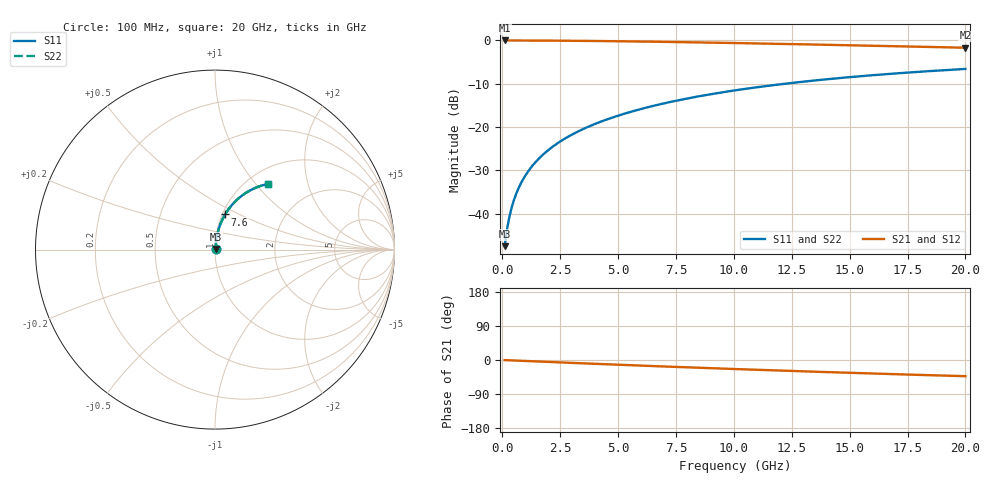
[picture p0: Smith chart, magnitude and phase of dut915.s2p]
! Touchstone file exported from HFSS 2024.1.0
!  File:  C:/UserFiles/LocalFiles/RDL_TSV_Batchsim/temp_RDL_bottom_915_1779940622.aedt
!  Generated:  11:59:45 AM May 28, 2026
!  Design:  RDL_bottom
!  Project:  temp_RDL_bottom_915_1779940622
!  Setup:  Setup1
!  Solution:  Sweep
! Variables:
!  dtsv = 10.80580581um
!  hbump = 3um
!  htsv = 90.33um
!  ldown = 537.34um
!  lrdl = 100um
!  p = 40
!  p1 = 57.89um
!  rhole = 1um
!  t = 450um
!  tdown = 4.22um
!  trdl = 3.915915916um
!  wdown = 14.74um
!  wrdl = 20um
# GHz S MA R 50.000000
! Terminal data exported
! Port[1] = RDL1_T1
! Port[2] = RDL1_T2
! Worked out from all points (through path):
!   200 points, 100 MHz to 20 GHz, reference 50 ohm
!   highest |S21| = -0.03 dB at 100 MHz (marker M1); lowest = -1.7 dB at 20 GHz (marker M2)
!   group delay of S21, straight-line fit = 5.93 ps
!   lowest |S11| = -47.4 dB at 100 MHz (marker M3), VSWR 1.01, Z = 50.3 + j0.285 ohm
!   |S11| at or under -10 dB: start of sweep to 12.22 GHz
!   |S22| runs from -47.4 to -6.6 dB; largest |S21 - S12| = 5.1e-15
!   S11 on the Smith chart (normalised r, x): 100 MHz: 1.01, +0.01; 7.6 GHz: 1.03, +0.42; 20 GHz: 1.23, +1.15
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0.1  0.004244 41.9  0.9968 -0.3  0.9968 -0.3  0.004244 41.9
! Gamma 0 0 0 0
! Port Impedance 50 0 50 0
0.2  0.006512 60.1  0.9967 -0.5  0.9967 -0.5  0.006512 60.1
0.3  0.009072 68.2  0.9966 -0.8  0.9966 -0.8  0.009072 68.2
0.4  0.01171 72.5  0.9965 -1.0  0.9965 -1.0  0.01171 72.5
0.5  0.01437 75.2  0.9963 -1.3  0.9963 -1.3  0.01437 75.2
0.6  0.01704 77.0  0.9962 -1.6  0.9962 -1.6  0.01703 77.0
0.8  0.02238 79.2  0.9959 -2.1  0.9959 -2.1  0.02238 79.2
1.1  0.03043 80.9  0.9953 -2.8  0.9953 -2.8  0.03043 80.9
1.5  0.0412 81.9  0.9943 -3.8  0.9943 -3.8  0.0412 81.9
1.8  0.0493 82.2  0.9935 -4.6  0.9935 -4.6  0.0493 82.2
2.1  0.05741 82.2  0.9925 -5.4  0.9925 -5.4  0.05741 82.2
2.7  0.07362 81.8  0.99 -6.9  0.99 -6.9  0.07362 81.8
3.5  0.09521 80.9  0.986 -8.8  0.986 -8.8  0.09521 80.9
4.2  0.114 79.9  0.9818 -10.5  0.9818 -10.5  0.114 79.9
5  0.1354 78.6  0.9763 -12.5  0.9763 -12.5  0.1354 78.6
5.9  0.1593 77.1  0.9694 -14.6  0.9694 -14.6  0.1593 77.1
6.8  0.183 75.4  0.9619 -16.7  0.9619 -16.7  0.183 75.4
7.6  0.2037 74.0  0.9548 -18.5  0.9548 -18.5  0.2037 74.0
10.1  0.2664 69.2  0.9304 -24.0  0.9304 -24.0  0.2664 69.2
13.4  0.3426 62.9  0.8952 -30.7  0.8952 -30.7  0.3427 62.9
16.7  0.41 56.9  0.8585 -37.0  0.8585 -37.0  0.41 56.9
20  0.468 51.2  0.8219 -42.7  0.8219 -42.7  0.468 51.3
